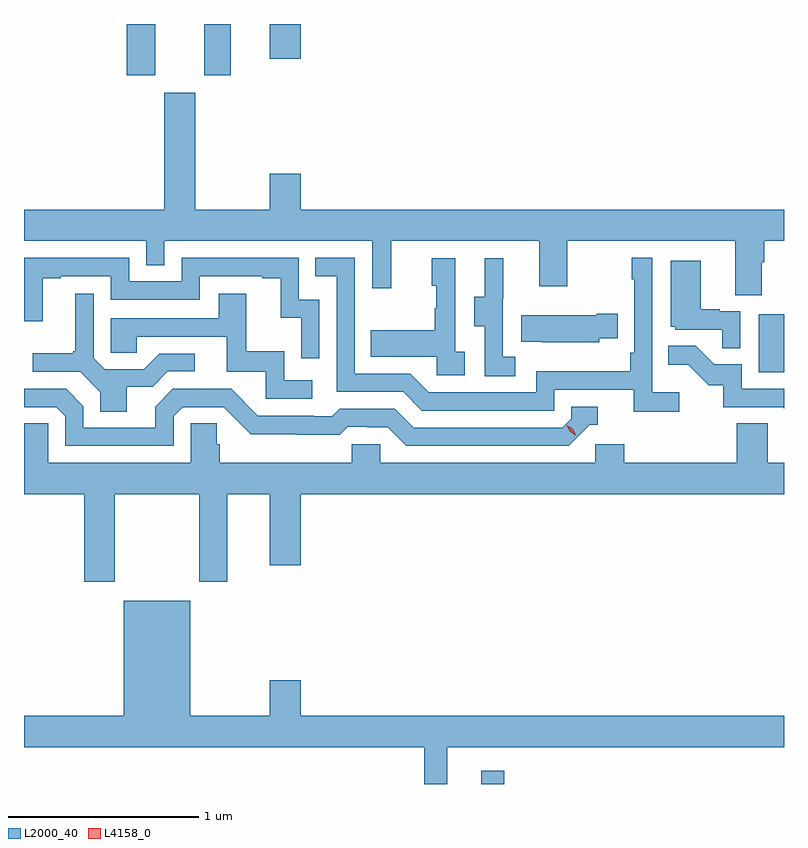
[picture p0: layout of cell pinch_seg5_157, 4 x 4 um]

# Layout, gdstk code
import gdstk
lib = gdstk.Library(unit=1e-6, precision=1e-09)
def R(c, l, rs):  # rectangles x0, y0, x1, y1
    for r in rs: c.add(gdstk.rectangle(r[:2], r[2:], *l))
def P(c, l, *ps):  # polygons
    for p in ps: c.add(gdstk.Polygon(p, *l))
L2000_40 = (2000, 40)
L4158_0 = (4158, 0)

pinch_seg5_157 = lib.new_cell('pinch_seg5_157')
R(pinch_seg5_157, L2000_40, [(1113.173,880.542,1113.295,880.612), (1114.634,882.708,1114.767,883.015), (1111.307,884.271,1111.459,884.542), (1111.715,884.271,1111.855,884.542), (1112.06,884.358,1112.224,884.542)])
P(pinch_seg5_157, L2000_40, [(1110.767,883.4),(1111.41,883.4),(1111.41,883.273),(1111.506,883.273),(1111.506,883.4),(1112.601,883.4),(1112.601,883.152),(1112.699,883.152),(1112.699,883.4),(1113.479,883.4),(1113.479,883.161),(1113.627,883.161),(1113.627,883.4),(1114.511,883.4),(1114.511,883.114),(1114.651,883.114),(1114.651,883.288),(1114.664,883.288),(1114.664,883.4),(1114.767,883.4),(1114.767,883.564),(1112.224,883.564),(1112.224,883.753),(1112.06,883.753),(1112.06,883.564),(1111.669,883.564),(1111.669,884.179),(1111.505,884.179),(1111.505,883.564),(1110.767,883.564)],
  [(1114.216,882.604),(1114.074,882.604),(1114.074,883.312),(1113.966,883.312),(1113.966,883.199),(1113.978,883.199),(1113.978,882.811),(1113.958,882.811),(1113.958,882.715),(1113.462,882.715),(1113.462,882.603),(1112.898,882.603),(1112.799,882.702),(1112.508,882.702),(1112.508,883.311),(1112.299,883.311),(1112.299,883.215),(1112.412,883.215),(1112.412,882.606),(1112.762,882.606),(1112.861,882.507),(1113.558,882.507),(1113.558,882.618),(1113.977,882.618),(1113.977,882.502),(1114.216,882.502)],
  [(1112.322,883.092),(1112.214,883.092),(1112.214,883.311),(1111.596,883.311),(1111.596,883.188),(1111.32,883.188),(1111.32,883.311),(1110.768,883.311),(1110.768,883.075),(1110.767,883.075),(1110.767,882.977),(1110.865,882.977),(1110.865,883.203),(1110.961,883.203),(1110.961,883.215),(1111.224,883.215),(1111.224,883.092),(1111.692,883.092),(1111.692,883.215),(1112.021,883.215),(1112.021,883.203),(1112.117,883.203),(1112.117,882.995),(1112.226,882.995),(1112.226,882.783),(1112.322,882.783)],
  [(1113.352,882.791),(1113.288,882.791),(1113.288,883.095),(1113.29,883.095),(1113.29,883.309),(1113.191,883.309),(1113.191,883.107),(1113.137,883.107),(1113.137,882.952),(1113.192,882.952),(1113.192,882.688),(1113.352,882.688)],
  [(1113.088,882.818),(1113.036,882.818),(1113.036,883.309),(1112.912,883.309),(1112.912,883.164),(1112.938,883.164),(1112.938,883.046),(1112.928,883.046),(1112.928,882.931),(1112.593,882.931),(1112.593,882.791),(1112.94,882.791),(1112.94,882.693),(1113.088,882.693)],
  [(1114.536,883.029),(1114.43,883.029),(1114.43,883.042),(1114.33,883.042),(1114.33,883.297),(1114.172,883.297),(1114.172,882.948),(1114.194,882.948),(1114.194,882.933),(1114.441,882.933),(1114.441,882.835),(1114.536,882.835)],
  [(1112.284,882.666),(1112.136,882.666),(1112.136,882.82),(1111.937,882.82),(1111.937,883.123),(1111.793,883.123),(1111.793,882.993),(1111.224,882.993),(1111.224,882.813),(1111.361,882.813),(1111.361,882.897),(1111.835,882.897),(1111.835,882.711),(1112.04,882.711),(1112.04,882.57),(1112.284,882.57)],
  [(1111.309,882.634),(1111.444,882.634),(1111.524,882.714),(1111.666,882.714),(1111.666,882.807),(1111.478,882.807),(1111.397,882.726),(1111.191,882.726),(1111.134,882.783),(1111.134,883.123),(1111.037,883.123),(1111.037,882.82),(1111.026,882.82),(1111.026,882.808),(1110.813,882.808),(1110.813,882.711),(1111.062,882.711),(1111.169,882.604),(1111.169,882.502),(1111.309,882.502)],
  [(1113.795,882.887),(1113.893,882.887),(1113.893,883.017),(1113.782,883.017),(1113.782,883.009),(1113.385,883.009),(1113.385,882.869),(1113.493,882.869),(1113.493,882.866),(1113.795,882.866)],
  [(1114.767,882.621),(1114.545,882.621),(1114.545,882.75),(1114.401,882.75),(1114.303,882.848),(1114.159,882.848),(1114.159,882.749),(1114.263,882.749),(1114.37,882.642),(1114.447,882.642),(1114.447,882.525),(1114.765,882.525),(1114.765,882.52),(1114.767,882.52)],
  [(1111.554,882.477),(1111.602,882.525),(1111.818,882.525),(1111.96,882.383),(1112.196,882.383),(1112.196,882.381),(1112.429,882.381),(1112.471,882.423),(1112.574,882.423),(1112.574,882.42),(1112.681,882.42),(1112.78,882.321),(1113.633,882.321),(1113.744,882.432),(1113.787,882.432),(1113.787,882.528),(1113.648,882.528),(1113.648,882.465),(1113.6,882.417),(1112.817,882.417),(1112.718,882.516),(1112.429,882.516),(1112.39,882.477),(1112.291,882.477),(1112.291,882.48),(1111.998,882.48),(1111.857,882.621),(1111.551,882.621),(1111.457,882.527),(1111.457,882.417),(1111.08,882.417),(1111.08,882.531),(1110.99,882.621),(1110.774,882.621),(1110.774,882.623),(1110.767,882.623),(1110.767,882.525),(1110.936,882.525),(1110.984,882.477),(1110.984,882.321),(1111.554,882.321)],
  [(1111.245,882.068),(1111.69,882.068),(1111.69,881.607),(1111.837,881.607),(1111.837,882.068),(1112.06,882.068),(1112.06,881.694),(1112.224,881.694),(1112.224,882.068),(1114.767,882.068),(1114.767,882.232),(1114.682,882.232),(1114.682,882.44),(1114.517,882.44),(1114.517,882.232),(1113.926,882.232),(1113.926,882.33),(1113.774,882.33),(1113.774,882.232),(1112.643,882.232),(1112.643,882.33),(1112.493,882.33),(1112.493,882.232),(1111.796,882.232),(1111.796,882.33),(1111.781,882.33),(1111.781,882.44),(1111.644,882.44),(1111.644,882.232),(1110.894,882.232),(1110.894,882.44),(1110.767,882.44),(1110.767,882.068),(1111.085,882.068),(1111.085,881.607),(1111.245,881.607)],
  [(1112.995,880.736),(1114.767,880.736),(1114.767,880.9),(1112.224,880.9),(1112.224,881.089),(1112.06,881.089),(1112.06,880.9),(1111.642,880.9),(1111.642,881.506),(1111.292,881.506),(1111.292,880.9),(1110.767,880.9),(1110.767,880.736),(1112.874,880.736),(1112.874,880.542),(1112.995,880.542)])
P(pinch_seg5_157, L4158_0, [(1113.669,882.378),(1113.639,882.398),(1113.624,882.431),(1113.624,882.431),(1113.624,882.431),(1113.654,882.411),(1113.67,882.378),(1113.67,882.378)])

lib.write_gds('pinch_seg5_157.gds')
